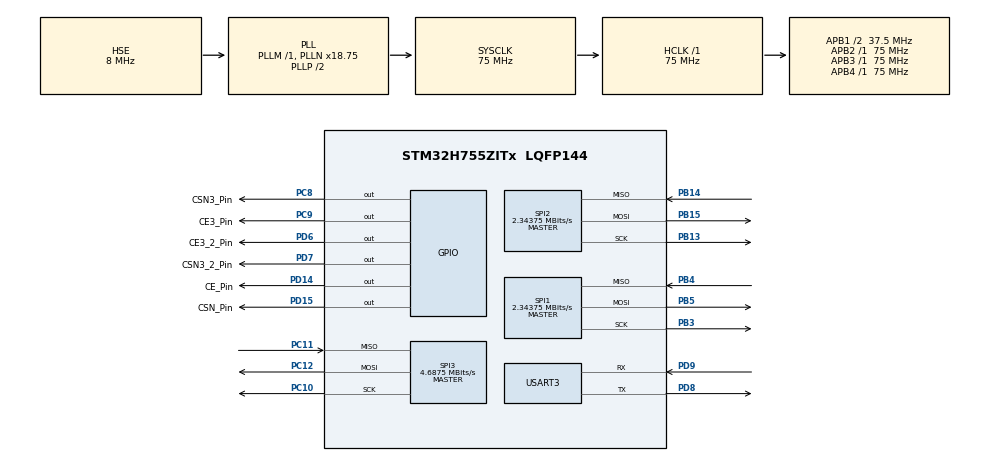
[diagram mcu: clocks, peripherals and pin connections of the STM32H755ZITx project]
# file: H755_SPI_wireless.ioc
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CortexM4.IPs=BDMA,CORTEX_M4\:I,DEBUG,DMA,FATFS_M4\:I,FREERTOS_M4\:I,GPIO,IWDG2\:I,MDMA,NVIC2\:I,OPENAMP_M4\:I,PDM2PCM_M4\:I,PWR,RCC,RESMGR_UTILITY,SYS_M4\:I,USB_DEVICE_M4\:I,USB_HOST_M4\:I,VREFBUF,WWDG2\:I
CortexM7.IPs=BDMA\:I,CORTEX_M7\:I,DEBUG\:I,DMA\:I,FATFS_M7\:I,FREERTOS_M7\:I,GPIO\:I,IWDG1\:I,MDMA\:I,NVIC1\:I,OPENAMP_M7\:I,PDM2PCM_M7\:I,PWR\:I,RCC\:I,RESMGR_UTILITY\:I,SYS\:I,USB_DEVICE_M7\:I,USB_HOST_M7\:I,VREFBUF\:I,WWDG1\:I,SPI1\:I,USART3\:I,SPI2\:I,SPI3\:I
CortexM7.Pins=PD14,PD15,PC8,PC9,PD6,PD7
Mcu.Family=STM32H7
Mcu.Name=STM32H755ZITx
Mcu.Package=LQFP144
NVIC1.PriorityGroup=NVIC_PRIORITYGROUP_4
NVIC2.PriorityGroup=NVIC_PRIORITYGROUP_4
PB13.Mode=Full_Duplex_Master
PB13.PinAttribute=CortexM7
PB13.Signal=SPI2_SCK
PB14.Mode=Full_Duplex_Master
PB14.PinAttribute=CortexM7
PB14.Signal=SPI2_MISO
PB15.Mode=Full_Duplex_Master
PB15.PinAttribute=CortexM7
PB15.Signal=SPI2_MOSI
PB3\ (JTDO/TRACESWO).Mode=Full_Duplex_Master
PB3\ (JTDO/TRACESWO).PinAttribute=CortexM7
PB3\ (JTDO/TRACESWO).Signal=SPI1_SCK
PB4\ (NJTRST).Mode=Full_Duplex_Master
PB4\ (NJTRST).PinAttribute=CortexM7
PB4\ (NJTRST).Signal=SPI1_MISO
PB5.Mode=Full_Duplex_Master
PB5.PinAttribute=CortexM7
PB5.Signal=SPI1_MOSI
PC10.Mode=Full_Duplex_Master
PC10.PinAttribute=CortexM7
PC10.Signal=SPI3_SCK
PC11.Mode=Full_Duplex_Master
PC11.PinAttribute=CortexM7
PC11.Signal=SPI3_MISO
PC12.Mode=Full_Duplex_Master
PC12.PinAttribute=CortexM7
PC12.Signal=SPI3_MOSI
PC14-OSC32_IN\ (OSC32_IN).Mode=LSE-External-Oscillator
PC14-OSC32_IN\ (OSC32_IN).PinAttribute=CortexM7
PC14-OSC32_IN\ (OSC32_IN).Signal=RCC_OSC32_IN
PC15-OSC32_OUT\ (OSC32_OUT).Mode=LSE-External-Oscillator
PC15-OSC32_OUT\ (OSC32_OUT).PinAttribute=CortexM7
PC15-OSC32_OUT\ (OSC32_OUT).Signal=RCC_OSC32_OUT
PC8.GPIO_Label=CSN3_Pin
PC8.PinAttribute=CortexM7
PC8.Signal=GPIO_Output
PC9.GPIO_Label=CE3_Pin
PC9.PinAttribute=CortexM7
PC9.Signal=GPIO_Output
PD14.GPIO_Label=CE_Pin
PD14.PinAttribute=CortexM7
PD14.Signal=GPIO_Output
PD15.GPIO_Label=CSN_Pin
PD15.PinAttribute=CortexM7
PD15.Signal=GPIO_Output
PD6.GPIO_Label=CE3_2_Pin
PD6.PinAttribute=CortexM7
PD6.Signal=GPIO_Output
PD7.GPIO_Label=CSN3_2_Pin
PD7.PinAttribute=CortexM7
PD7.Signal=GPIO_Output
PD8.Mode=Asynchronous
PD8.PinAttribute=CortexM7
PD8.Signal=USART3_TX
PD9.Mode=Asynchronous
PD9.PinAttribute=CortexM7
PD9.Signal=USART3_RX
PH0-OSC_IN\ (PH0).Mode=HSE-External-Clock-Source
PH0-OSC_IN\ (PH0).PinAttribute=CortexM7
PH0-OSC_IN\ (PH0).Signal=RCC_OSC_IN
ProjectManager.HeapSize=M4-0x200,M7-0x200
ProjectManager.StackSize=M4-0x400,M7-0x400
ProjectManager.TargetToolchain=STM32CubeIDE
RCC.ADCFreq_Value=16125000
RCC.APB1Freq_Value=37500000
RCC.APB2Freq_Value=75000000
RCC.APB3Freq_Value=75000000
RCC.APB4Freq_Value=75000000
RCC.CortexFreq_Value=75000000
RCC.D2PPRE1=RCC_APB1_DIV2
RCC.DIVM1=1
RCC.DIVN1=18
RCC.HCLKFreq_Value=75000000
RCC.HSE_VALUE=8000000
RCC.PLLFRACN=6144
RCC.PLLSourceVirtual=RCC_PLLSOURCE_HSE
RCC.SYSCLKFreq_VALUE=75000000
RCC.SYSCLKSource=RCC_SYSCLKSOURCE_PLLCLK
RCC.USBFreq_Value=75000000
SPI1.BaudRatePrescaler=SPI_BAUDRATEPRESCALER_32
SPI1.CalculateBaudRate=2.34375 MBits/s
SPI1.DataSize=SPI_DATASIZE_8BIT
SPI1.Direction=SPI_DIRECTION_2LINES
SPI1.Mode=SPI_MODE_MASTER
SPI1.VirtualType=VM_MASTER
SPI2.BaudRatePrescaler=SPI_BAUDRATEPRESCALER_32
SPI2.CalculateBaudRate=2.34375 MBits/s
SPI2.DataSize=SPI_DATASIZE_8BIT
SPI2.Direction=SPI_DIRECTION_2LINES
SPI2.Mode=SPI_MODE_MASTER
SPI2.VirtualType=VM_MASTER
SPI3.BaudRatePrescaler=SPI_BAUDRATEPRESCALER_16
SPI3.CalculateBaudRate=4.6875 MBits/s
SPI3.DataSize=SPI_DATASIZE_8BIT
SPI3.Direction=SPI_DIRECTION_2LINES
SPI3.Mode=SPI_MODE_MASTER
SPI3.VirtualType=VM_MASTER
USART3.VirtualMode-Asynchronous=VM_ASYNC
board=custom

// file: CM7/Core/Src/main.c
/* USER CODE BEGIN Header */
/**
  ******************************************************************************
  * @file           : main.c
  * @brief          : Main program body
  ******************************************************************************
  * @attention
  *
  * Copyright (c) 2023 STMicroelectronics.
  * All rights reserved.
  *
  * This software is licensed under terms that can be found in the LICENSE file
  * in the root directory of this software component.
  * If no LICENSE file comes with this software, it is provided AS-IS.
  *
  ******************************************************************************
  */
/* USER CODE END Header */
#include "main.h"
#include "spi.h"
#include "usart.h"
#include "gpio.h"

/* USER CODE BEGIN Includes */
#include "stm32h7xx_hal.h"
#include "MY_NRF24.h"
#include "myprintf.h"
/* USER CODE END Includes */

/* USER CODE BEGIN PD */

#ifndef HSEM_ID_0
#define HSEM_ID_0 (0U) /* HW semaphore 0*/
#endif
/* USER CODE END PD */

void SystemClock_Config(void);

/* USER CODE BEGIN 0 */
uint64_t RxpipeAddrs = 0x11223344AA;
char myRxData[6];
uint8_t myRxData2[6];
char myAckPayload[32] = "Ack by STMF7!";
/* USER CODE END 0 */

int main(void)
{
/* USER CODE BEGIN Boot_Mode_Sequence_0 */
  int32_t timeout;
/* USER CODE END Boot_Mode_Sequence_0 */

/* USER CODE BEGIN Boot_Mode_Sequence_1 */
  /* Wait until CPU2 boots and enters in stop mode or timeout*/
  timeout = 0xFFFF;
  while((__HAL_RCC_GET_FLAG(RCC_FLAG_D2CKRDY) != RESET) && (timeout-- > 0));
  if ( timeout < 0 )
  {
  Error_Handler();
  }
/* USER CODE END Boot_Mode_Sequence_1 */
  /* MCU Configuration--------------------------------------------------------*/

  /* Reset of all peripherals, Initializes the Flash interface and the Systick. */
  HAL_Init();

  /* Configure the system clock */
  SystemClock_Config();
/* USER CODE BEGIN Boot_Mode_Sequence_2 */
/* When system initialization is finished, Cortex-M7 will release Cortex-M4 by means of
HSEM notification */
/*HW semaphore Clock enable*/
__HAL_RCC_HSEM_CLK_ENABLE();
/*Take HSEM */
HAL_HSEM_FastTake(HSEM_ID_0);
/*Release HSEM in order to notify the CPU2(CM4)*/
HAL_HSEM_Release(HSEM_ID_0,0);
/* wait until CPU2 wakes up from stop mode */
timeout = 0xFFFF;
while((__HAL_RCC_GET_FLAG(RCC_FLAG_D2CKRDY) == RESET) && (timeout-- > 0));
if ( timeout < 0 )
{
Error_Handler();
}
/* USER CODE END Boot_Mode_Sequence_2 */

  /* Initialize all configured peripherals */
  MX_GPIO_Init();
  MX_SPI1_Init();
  MX_USART3_UART_Init();
  MX_SPI2_Init();
  MX_SPI3_Init();
  /* USER CODE BEGIN 2 */
  mySetupNRF24(nrf_CSN_PORT3_2, nrf_CSN_PIN3_2, nrf_CE_PIN3_2,
		  hspi3,huart3,52, RxpipeAddrs, 1);
//  mySetupNRF24(nrf_CSN_PORT, nrf_CSN_PIN, nrf_CE_PIN,
//  		  hspi2,huart3,60, RxpipeAddrs, 1);
  uint16_t x=0, y=0 ,a=0;
  uint8_t status;
  /* USER CODE END 2 */

  /* Infinite loop */
  while (1)
  {

    /* USER CODE BEGIN 3 */
	  status = myReadData2(myRxData);
	  x = (uint16_t)myRxData[0] << 8 | myRxData[1];
	  y = (uint16_t)myRxData[2] << 8 | myRxData[3];
	  a = (uint16_t)myRxData[4] << 8 | myRxData[5];
//	  printf("S: %d \r\n",status);
//	  printf("U %x %x %x %x %x %x\r\n",myRxData2[0],myRxData2[1],myRxData2[2],myRxData2[3],myRxData2[4],myRxData2[5]);
	  printf("X:%d Y:%d A:%d\r\n",x,y,a);
//
//	  HAL_Delay(500);

  }
  /* USER CODE END 3 */
}

void SystemClock_Config(void)
{
  RCC_OscInitTypeDef RCC_OscInitStruct = {0};
  RCC_ClkInitTypeDef RCC_ClkInitStruct = {0};

  /** Supply configuration update enable
  */
  HAL_PWREx_ConfigSupply(PWR_DIRECT_SMPS_SUPPLY);

  /** Configure the main internal regulator output voltage
  */
  __HAL_PWR_VOLTAGESCALING_CONFIG(PWR_REGULATOR_VOLTAGE_SCALE3);

  while(!__HAL_PWR_GET_FLAG(PWR_FLAG_VOSRDY)) {}

  /** Initializes the RCC Oscillators according to the specified parameters
  * in the RCC_OscInitTypeDef structure.
  */
  RCC_OscInitStruct.OscillatorType = RCC_OSCILLATORTYPE_HSE;
  RCC_OscInitStruct.HSEState = RCC_HSE_BYPASS;
  RCC_OscInitStruct.PLL.PLLState = RCC_PLL_ON;
  RCC_OscInitStruct.PLL.PLLSource = RCC_PLLSOURCE_HSE;
  RCC_OscInitStruct.PLL.PLLM = 1;
  RCC_OscInitStruct.PLL.PLLN = 18;
  RCC_OscInitStruct.PLL.PLLP = 2;
  RCC_OscInitStruct.PLL.PLLQ = 2;
  RCC_OscInitStruct.PLL.PLLR = 2;
  RCC_OscInitStruct.PLL.PLLRGE = RCC_PLL1VCIRANGE_3;
  RCC_OscInitStruct.PLL.PLLVCOSEL = RCC_PLL1VCOMEDIUM;
  RCC_OscInitStruct.PLL.PLLFRACN = 6144;
  if (HAL_RCC_OscConfig(&RCC_OscInitStruct) != HAL_OK)
  {
    Error_Handler();
  }

  /** Initializes the CPU, AHB and APB buses clocks
  */
  RCC_ClkInitStruct.ClockType = RCC_CLOCKTYPE_HCLK|RCC_CLOCKTYPE_SYSCLK
                              |RCC_CLOCKTYPE_PCLK1|RCC_CLOCKTYPE_PCLK2
                              |RCC_CLOCKTYPE_D3PCLK1|RCC_CLOCKTYPE_D1PCLK1;
  RCC_ClkInitStruct.SYSCLKSource = RCC_SYSCLKSOURCE_PLLCLK;
  RCC_ClkInitStruct.SYSCLKDivider = RCC_SYSCLK_DIV1;
  RCC_ClkInitStruct.AHBCLKDivider = RCC_HCLK_DIV1;
  RCC_ClkInitStruct.APB3CLKDivider = RCC_APB3_DIV1;
  RCC_ClkInitStruct.APB1CLKDivider = RCC_APB1_DIV2;
  RCC_ClkInitStruct.APB2CLKDivider = RCC_APB2_DIV1;
  RCC_ClkInitStruct.APB4CLKDivider = RCC_APB4_DIV1;

  if (HAL_RCC_ClockConfig(&RCC_ClkInitStruct, FLASH_LATENCY_1) != HAL_OK)
  {
    Error_Handler();
  }
}

void Error_Handler(void)
{
  __disable_irq();
  while (1)
  {
  }
}
